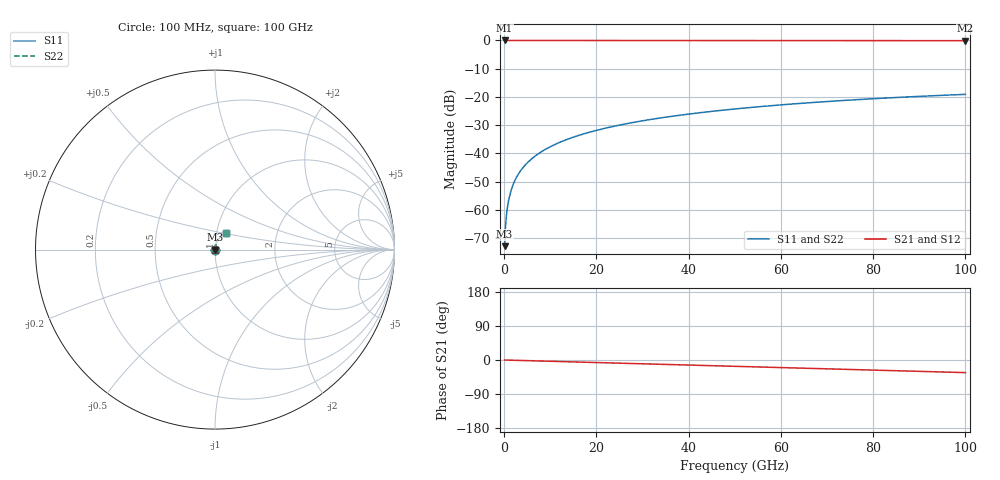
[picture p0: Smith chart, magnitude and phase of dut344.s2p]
! Touchstone file exported from HFSS 2026.1.0
!  File:  C:/ffzhzh/LocalFiles/Ansys_Project_Files/temp_train_TSV_344_1783509910_31944.aedt
!  Generated:  07:26:27 PM Jul  8, 2026
!  Design:  TSV
!  Project:  temp_train_TSV_344_1783509910_31944
! Variables:
!  h_bsmrdl = 2um
!  h_ox = 20um
!  h_rdl = 5um
!  h_sub = 63.05um
!  h_tmrdl = 5um
!  h_tsv = 63.05um
!  h_via = 3um
!  l_bsmrdl = 300um
!  l_sub = 415.54um
!  l_tmrdl = 200um
!  m_sub = 200um
!  pitch = 40.86um
!  r_tsv = 7.77um
!  s_tmrdl = 10um
!  w_bsmrdl = 18um
!  w_sub = 500um
!  w_tmrdl = 12um
!  x_tsv_center1 = 206um
!  x_tsv_center2 = 524um
!  x_tsv_center3 = 736um
!  x_tsv_center4 = 1054um
!  x_tsv_center5 = 1266um
!  x_tsv_center6 = 1584um
# GHz S MA R 50.000000
! Terminal data exported
! Port[1] = TSV1_1_T1
! Port[2] = TSV1_1_T2
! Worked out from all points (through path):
!   1000 points, 100 MHz to 100 GHz, reference 50 ohm
!   highest |S21| = 0.00 dB at 100 MHz (marker M1); lowest = -0.1 dB at 100 GHz (marker M2)
!   group delay of S21, straight-line fit = 924 fs
!   lowest |S11| = -72.9 dB at 100 MHz (marker M3), VSWR 1.00, Z = 50 + j0.0165 ohm
!   |S11| at or under -10 dB: start of sweep to end of sweep
!   |S22| runs from -72.9 to -19.1 dB; largest |S21 - S12| = 4e-15
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0.1  0.0002269 46.6  0.9998 -0.0  0.9998 -0.0  0.0002269 46.6
! Gamma 0 0 0 0
! Port Impedance 50 0 50 0
0.4  0.0006565 72.2  0.9998 -0.1  0.9998 -0.1  0.0006565 72.2
0.7  0.001081 77.0  0.9998 -0.2  0.9998 -0.2  0.001081 77.0
0.8  0.001221 77.9  0.9997 -0.3  0.9997 -0.3  0.001221 77.9
1.1  0.001639 79.7  0.9997 -0.4  0.9997 -0.4  0.001639 79.7
1.4  0.002053 80.7  0.9997 -0.5  0.9997 -0.5  0.002053 80.7
1.9  0.002732 81.5  0.9996 -0.7  0.9996 -0.7  0.002732 81.5
2.4  0.003398 82.0  0.9996 -0.8  0.9996 -0.8  0.003398 82.0
3  0.004185 82.4  0.9995 -1.0  0.9995 -1.0  0.004185 82.4
3.8  0.00522 82.7  0.9994 -1.3  0.9994 -1.3  0.005219 82.7
4.8  0.006502 82.9  0.9994 -1.6  0.9994 -1.6  0.006502 83.0
6  0.008034 83.1  0.9993 -2.0  0.9993 -2.0  0.008034 83.1
8.8  0.01159 82.9  0.9991 -3.0  0.9991 -3.0  0.01159 82.9
12.4  0.01611 82.3  0.9989 -4.2  0.9989 -4.2  0.01611 82.3
16.8  0.02159 81.3  0.9986 -5.6  0.9986 -5.6  0.02159 81.3
24.2  0.03069 79.3  0.9981 -8.1  0.9981 -8.1  0.03069 79.3
33.4  0.04181 76.6  0.9975 -11.2  0.9975 -11.2  0.04181 76.6
41.2  0.05102 74.2  0.9969 -13.8  0.9969 -13.8  0.05102 74.2
50.1  0.06126 71.4  0.9961 -16.7  0.9961 -16.7  0.06126 71.4
66.7  0.07941 66.1  0.9945 -22.2  0.9945 -22.2  0.07941 66.2
83.4  0.09615 60.8  0.9928 -27.8  0.9928 -27.8  0.09615 60.8
100  0.1109 55.4  0.991 -33.3  0.991 -33.3  0.1109 55.4
